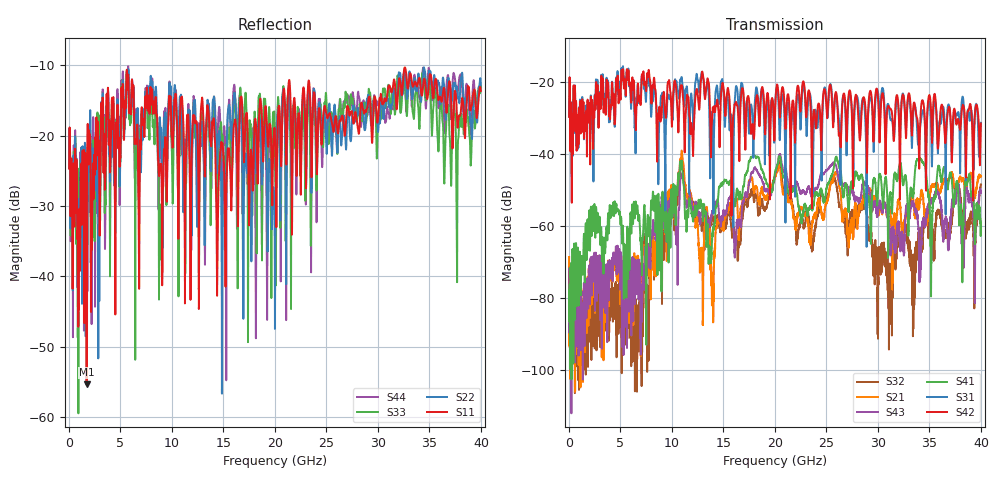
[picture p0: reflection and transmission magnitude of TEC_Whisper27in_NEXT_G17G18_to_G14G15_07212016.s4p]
! TE Connectivity
! G17G18-G14G15_NEXT
!! PART DESCRIPTION: Whisper 27in Megtron 6 HVLP-HVLP-HVLP Channel Model, bulkhead 2.92mm test points
!! MODEL DESCRIPTION: System 4-port S-parameter
!! MODEL STATUS: Measured
!! MODEL GEOMETRY: Channel Model
!! MODEL FREQUENCY RANGE: DC to 40 GHz in 10 MHz frequency steps
!! MODEL EDGE RATE LIMITATION: 12.5 ps (Using conservative 0.5/Fmax rule of thumb)
!! TIME-DOMAIN TRANSFORM CAUTIONS:
!! 1.) Do not simulate transient edge rates faster than the number listed above.  Edge
!!  rates faster than this number contain significant spectral content at frequencies
!!  above the model's highest frequency.
!! 2.) Even when simulating edge rates that are slower than the number listed above, be
!!  aware that the best time resolution possible with a direct iFFT is (1 / 2Fmax).
!!  As a result, time resolution is typically not adequate for most time-domain
!!  simulations unless tricks such as frequency-domain zero-padding and windowing are
!!  used to minimize leakage and aliasing.
!! 3.) Because the model has a uniform frequency step, a direct iFFT will result in an
!!  impulse that that has a time length given by either (1 / Fstep) or (1 / 2Fstep),
!!  depending on the transform being used.  Care has been taken in selecting the
!!  frequency step to ensure a settled impulse response for the model.  Therefore,
!!  convolution with the model's impulse response should present no issues.  However,
!!  if directly concatenating s-parameter models in the frequency domain a user must
!!  either interpolate necessary interim frequencies or complete impulse response
!!  zero-padding.  Impulse response zero-padding is more difficult, but more accurate.
!! PORT DEFINITIONS:
!! Port  1  ----->  Side A  G17  G14  Side B  <-----  Port  2
!! Port  3  ----->  Side A  G18  G15  Side B  <-----  Port  4
! Point-to-Point link (differential)  !
! Connectors:  !
!  1: STRADA Whisper 3.9mm  !
! Materials:  !
!  Backplane: Megtron-6 HVLP  !
!  Daughtercard: Megtron-6 HVLP  !
! Stack-up:  !
!  Backplane: 20 layers, 190mil thick  !
!  Daughtercard: 14 layers, 110mil thick  !
! Trace Length:  !
!  Backplane: 17in  !
!  Daughtercards: 5in  !
! Trace Width:  !
!  Backplane: 5.75-6.25-5.75 mils  !
!  Daughtercards: 6-9-6 mils  !
! Geometry:  !
!  Backplane: Stripline  !
!  Daughtercards: Stripline  !
! Layer Connections:  !
!  Backplane: Layer 16, counterbored(1-6mil stub)  !
!  Daughtercard: Layer 9, counterbored(1-6mil stub) !
! Freq. Range: 0 GHz - 40 GHz  !
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# hz S ma R 50
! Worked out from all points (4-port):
!   4000 points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, 10 MHz to 40 GHz, reference 50 ohm
!   strongest paths, dB at 10 MHz, 10.01 GHz, 20.01 GHz, 30.01 GHz, 40 GHz:
!     S42: -29.7, -31.2, -29.2, -24.5, -31.5
!     S31: -29.7, -29.0, -27.3, -22.8, -31.3
!     S41: -77.9, -55.2, -45.0, -50.3, -59.1
!     S43: -71.9, -52.5, -45.3, -56.2, -50.8
!     S21: -68.6, -52.2, -46.3, -56.6, -46.2
!     S32: -71.2, -52.7, -46.2, -91.3, -48.4
!   lowest |S11| = -55.4 dB at 1.71 GHz (marker M1), VSWR 1.00, Z = 50.1 - j0.114 ohm
!   |S11| at or under -10 dB: start of sweep to end of sweep
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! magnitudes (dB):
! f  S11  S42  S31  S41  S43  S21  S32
! 10 MHz  -24.7  -29.7  -29.7  -77.9  -71.9  -68.6  -71.2
! 1.71 GHz  -55.4  -29.3  -27.9  -69.5  -81.2  -80.3  -84.1
! 10.95 GHz  -14.5  -20.9  -18.8  -41.9  -45.8  -39.1  -43.4
! 13.93 GHz  -18.0  -28.3  -30.9  -62.0  -56.1  -74.1  -57.3
! 20.34 GHz  -16.0  -23.3  -25.8  -41.4  -41.1  -43.4  -43.0
! 31.22 GHz  -13.4  -27.5  -30.6  -50.6  -68.2  -57.2  -71.5
! 40 GHz  -13.6  -31.5  -31.3  -59.1  -50.8  -46.2  -48.4
